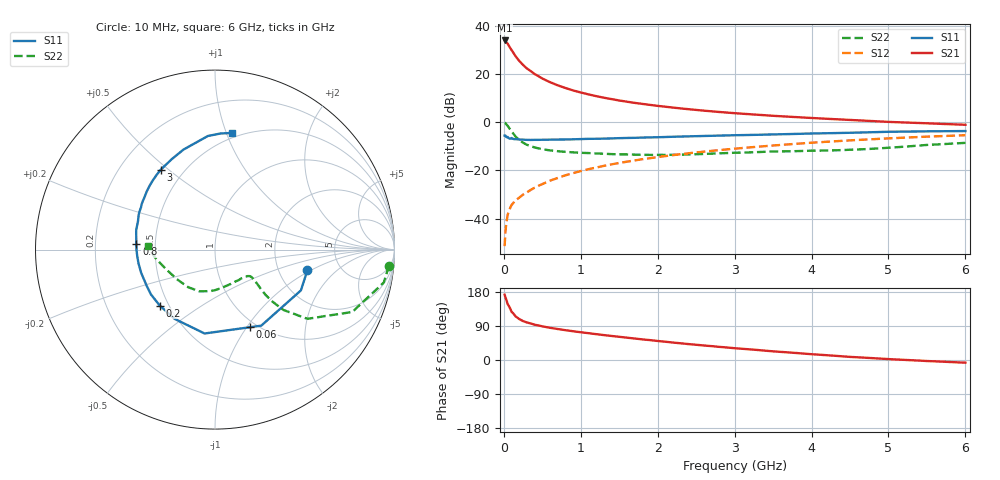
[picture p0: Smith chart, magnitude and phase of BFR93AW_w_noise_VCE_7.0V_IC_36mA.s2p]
! Infineon Technologies  Discrete & RF Semiconductors
! BFR93AW
! VCE =  7.0 V,  IC =  36 mA
! Common Emitter S-Parameters:  Jan 2017
# GHz  S  MA  R  50
!  f  S11  S21  S12  S22
! GHz  MAG  ANG  MAG  ANG  MAG  ANG  MAG  ANG
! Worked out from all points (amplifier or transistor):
!   77 points, 10 MHz to 6 GHz, reference 50 ohm
!   highest |S21| = 33.9 dB at 10 MHz (marker M1)
!   |S21| within 3 dB of that: start of sweep to 80.74 MHz
!   unconditionally stable (mu >= 1): 579.8 MHz to 2.034 GHz
!   at 130 MHz: K = 0.54, MSG = 30.8 dB, |S12| = -33.2 dB
!   at 2.2 GHz: K = 0.99, MSG = 9.8 dB, |S12| = -13.6 dB
!   at 6 GHz: K = 0.87, MSG = 2.2 dB, |S12| = -5.4 dB
!   lowest NFmin = 1.95 dB at 450 MHz
!   S11 on the Smith chart (normalised r, x): 10 MHz: 2.90, -0.93; 60 MHz: 0.93, -1.03; 200 MHz: 0.45, -0.34; 800 MHz: 0.39, +0.03; 3 GHz: 0.37, +0.47; 6 GHz: 0.46, +1.04
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0.01  0.5275 -12.7  49.49 172.3  0.0027 84.6  0.9732 -5.3
0.02  0.5298 -25.4  48.76 165.7  0.0052 84.2  0.9584 -11.0
0.05  0.4959 -58.7  42.35 147.3  0.0121 67.0  0.8406 -24.4
0.06  0.4742 -65.8  39.83 144.2  0.0135 65.9  0.7987 -26.4
0.1  0.471 -97.1  31.32 127.3  0.0192 63.3  0.6435 -36.8
0.15  0.4467 -120.3  23.64 115.6  0.0238 59.0  0.509 -41.4
0.2  0.4382 -134.7  18.67 108.1  0.0273 61.4  0.4284 -42.2
0.25  0.4356 -145.1  15.38 102.7  0.0316 62.4  0.3764 -41.8
0.3  0.4307 -152.0  12.99 99.0  0.0352 63.5  0.3406 -40.8
0.4  0.4313 -162.4  9.974 93.1  0.044 66.5  0.2996 -38.9
0.5  0.4331 -169.7  8.046 88.8  0.0522 68.3  0.2759 -37.7
0.6  0.4349 -175.4  6.763 85.0  0.0615 68.9  0.2607 -37.2
0.7  0.4374 -179.8  5.825 81.8  0.0699 70.3  0.2509 -36.9
0.8  0.4393 176.0  5.123 78.7  0.0794 71.1  0.2433 -37.4
1.1  0.4525 165.9  3.777 70.8  0.1063 70.2  0.2296 -40.9
1.5  0.4676 155.3  2.821 61.2  0.1432 68.6  0.2161 -49.4
2.1  0.4939 141.6  2.094 48.2  0.1989 64.6  0.2105 -67.7
3  0.5379 124.3  1.54 31.1  0.2829 56.8  0.233 -96.8
3.1  0.541 122.5  1.501 29.6  0.292 55.8  0.2349 -99.7
4.1  0.5876 106.0  1.202 14.0  0.3848 45.8  0.2578 -128.9
5.1  0.6363 92.3  1.003 1.4  0.4704 34.9  0.303 -162.2
6  0.6566 81.8  0.885 -7.1  0.5379 24.8  0.3737 176.9
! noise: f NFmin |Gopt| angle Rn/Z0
0.45  1.95  0.21  178  0.16
0.9  2.22  0.28  -172  0.17
1.9  3.28  0.52  -134  0.32
2.4  3.96  0.56  -123  0.61
